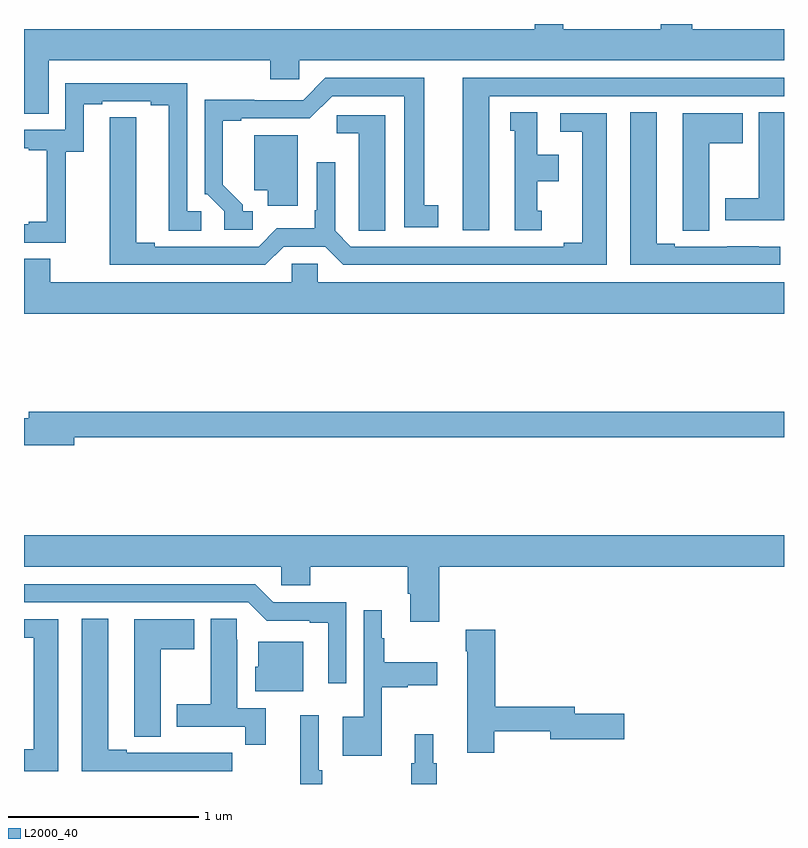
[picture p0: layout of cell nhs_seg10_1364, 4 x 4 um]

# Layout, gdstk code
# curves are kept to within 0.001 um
import gdstk
lib = gdstk.Library(unit=1e-6, precision=1e-09)
def P(c, l, *ps):  # polygons
    for p in ps: c.add(gdstk.Polygon(p, *l))
L2000_40 = (2000, 40)

nhs_seg10_1364 = lib.new_cell('nhs_seg10_1364')
P(nhs_seg10_1364, L2000_40, [(181.129,1308.308),(182.297,1308.308),(182.297,1308.21),(182.448,1308.21),(182.448,1308.308),(185,1308.308),(185,1308.472),(184.517,1308.472),(184.517,1308.5),(184.352,1308.5),(184.352,1308.472),(183.839,1308.472),(183.839,1308.5),(183.687,1308.5),(183.687,1308.472),(181,1308.472),(181,1308.028),(181.129,1308.028)],
  [(182.203,1307.514),(182.152,1307.514),(182.152,1307.549),(182.047,1307.654),(182.047,1307.991),(182.143,1307.991),(182.143,1308.003),(182.505,1308.003),(182.622,1308.12),(183.002,1308.12),(183.002,1307.43),(183.181,1307.43),(183.181,1307.546),(183.106,1307.546),(183.106,1308.216),(182.586,1308.216),(182.469,1308.099),(182.213,1308.099),(182.213,1308.101),(181.95,1308.101),(181.95,1307.604),(181.965,1307.604),(182.055,1307.514),(182.055,1307.418),(182.203,1307.418)],
  [(183.448,1308.12),(185,1308.12),(185,1308.216),(183.308,1308.216),(183.308,1307.415),(183.448,1307.415)],
  [(181.221,1307.827),(181.315,1307.827),(181.315,1308.078),(181.411,1308.078),(181.411,1308.093),(181.667,1308.093),(181.667,1308.073),(181.763,1308.073),(181.763,1307.413),(181.933,1307.413),(181.933,1307.514),(181.86,1307.514),(181.86,1308.189),(181.218,1308.189),(181.218,1307.943),(181,1307.943),(181,1307.847),(181.025,1307.847),(181.025,1307.835),(181.121,1307.835),(181.121,1307.458),(181.025,1307.458),(181.025,1307.445),(181,1307.445),(181,1307.349),(181.221,1307.349)],
  [(183.724,1307.517),(183.7,1307.517),(183.7,1307.672),(183.814,1307.672),(183.814,1307.812),(183.7,1307.812),(183.7,1308.035),(183.56,1308.035),(183.56,1307.937),(183.584,1307.937),(183.584,1307.415),(183.724,1307.415)],
  [(184.981,1307.328),(184.868,1307.328),(184.868,1307.329),(184.702,1307.329),(184.702,1307.328),(184.426,1307.328),(184.426,1307.343),(184.33,1307.343),(184.33,1308.035),(184.19,1308.035),(184.19,1307.232),(184.981,1307.232)],
  [(185,1308.035),(184.868,1308.035),(184.868,1307.583),(184.691,1307.583),(184.691,1307.466),(185,1307.466)],
  [(184.606,1307.872),(184.783,1307.872),(184.783,1308.031),(184.466,1308.031),(184.466,1307.521),(184.467,1307.521),(184.467,1307.413),(184.606,1307.413)],
  [(182.367,1307.328),(182.585,1307.328),(182.681,1307.232),(184.066,1307.232),(184.066,1308.03),(183.822,1308.03),(183.822,1307.934),(183.938,1307.934),(183.938,1307.348),(183.842,1307.348),(183.842,1307.328),(182.721,1307.328),(182.637,1307.412),(182.637,1307.773),(182.541,1307.773),(182.541,1307.521),(182.529,1307.521),(182.529,1307.424),(182.331,1307.424),(182.235,1307.328),(181.687,1307.328),(181.687,1307.348),(181.591,1307.348),(181.591,1308.008),(181.452,1308.008),(181.451,1307.232),(182.271,1307.232)],
  [(182.902,1308.021),(182.646,1308.021),(182.646,1307.924),(182.762,1307.924),(182.762,1307.521),(182.763,1307.521),(182.763,1307.413),(182.902,1307.413)],
  [(182.44,1307.914),(182.213,1307.914),(182.213,1307.624),(182.282,1307.624),(182.282,1307.544),(182.44,1307.544)],
  [(185,1307.14),(182.547,1307.14),(182.547,1307.238),(182.409,1307.238),(182.409,1307.14),(181.137,1307.14),(181.137,1307.264),(181,1307.264),(181,1306.976),(185,1306.976)],
  [(181.264,1306.324),(185,1306.324),(185,1306.46),(181.025,1306.46),(181.025,1306.424),(181,1306.424),(181,1306.282),(181.264,1306.282)],
  [(183.185,1305.644),(185,1305.644),(185,1305.808),(181,1305.808),(181,1305.644),(182.355,1305.644),(182.355,1305.546),(182.507,1305.546),(182.507,1305.644),(183.02,1305.644),(183.02,1305.502),(183.032,1305.502),(183.032,1305.354),(183.185,1305.354)],
  [(182.697,1305.456),(182.313,1305.456),(182.217,1305.552),(181,1305.552),(181,1305.456),(182.181,1305.456),(182.277,1305.36),(182.504,1305.36),(182.504,1305.348),(182.6,1305.348),(182.6,1305.03),(182.697,1305.03)],
  [(182.884,1305.008),(183.021,1305.008),(183.021,1305.02),(183.175,1305.02),(183.175,1305.142),(182.896,1305.142),(182.896,1305.266),(182.884,1305.266),(182.884,1305.415),(182.787,1305.415),(182.787,1304.854),(182.678,1304.854),(182.678,1304.648),(182.884,1304.648)],
  [(182.095,1304.664),(181.982,1304.664),(181.982,1304.665),(181.816,1304.665),(181.816,1304.664),(181.54,1304.664),(181.54,1304.679),(181.444,1304.679),(181.444,1305.371),(181.304,1305.371),(181.304,1304.568),(182.095,1304.568)],
  [(182.273,1304.898),(182.122,1304.898),(182.122,1305.26),(182.121,1305.26),(182.121,1305.371),(181.982,1305.371),(181.982,1304.919),(181.805,1304.919),(181.805,1304.802),(182.164,1304.802),(182.164,1304.706),(182.273,1304.706)],
  [(181.72,1305.208),(181.897,1305.208),(181.897,1305.367),(181.58,1305.367),(181.58,1304.857),(181.581,1304.857),(181.581,1304.749),(181.72,1304.749)],
  [(181.18,1305.366),(181,1305.366),(181,1305.27),(181.052,1305.27),(181.052,1304.684),(181,1304.684),(181,1304.568),(181.18,1304.568)],
  [(183.474,1304.778),(183.77,1304.778),(183.77,1304.735),(184.159,1304.735),(184.159,1304.87),(183.898,1304.87),(183.898,1304.906),(183.479,1304.906),(183.479,1305.313),(183.325,1305.313),(183.325,1305.2),(183.332,1305.2),(183.332,1304.664),(183.474,1304.664)],
  [(182.47,1305.25),(182.234,1305.25),(182.234,1305.117),(182.216,1305.117),(182.216,1304.987),(182.47,1304.987)],
  [(182.57,1304.572),(182.55,1304.572),(182.55,1304.863),(182.453,1304.863),(182.453,1304.5),(182.57,1304.5)],
  [(183.173,1304.61),(183.154,1304.61),(183.154,1304.761),(183.056,1304.761),(183.056,1304.61),(183.037,1304.61),(183.037,1304.5),(183.173,1304.5)])

lib.write_gds('nhs_seg10_1364.gds')
